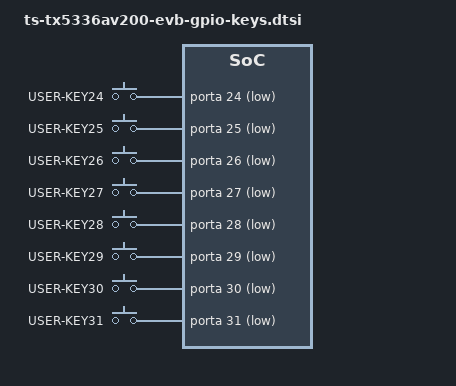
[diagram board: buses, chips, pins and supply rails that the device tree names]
#include "ts-tx5336.dtsi"
#include <dt-bindings/gpio/gpio.h>

/ {
gpio_keys: gpio_keys@0 {
	compatible = "gpio-keys";

	#address-cells = <1>;
	#size-cells = <0>;
	autorepeat;

    // key0@0 {
    //     label = "USER-KEY0";
    //     linux,code = <0>;
    //     gpios = <&porta 0 GPIO_ACTIVE_LOW>;
    //     gpio-key,wakeup;
    // };

    // key1@1 {
    //     label = "USER-KEY1";
    //     linux,code = <1>;
    //     gpios = <&porta 1 GPIO_ACTIVE_LOW>;
    //     gpio-key,wakeup;
    // };
    // key2@2 {
    //     label = "USER-KEY2";
    //     linux,code = <2>;
    //     gpios = <&porta 2 GPIO_ACTIVE_LOW>;
    //     gpio-key,wakeup;
    // };
    //   key3@3 {
    //                                 label = "USER-KEY3";
    //                                  linux,code = <3>;
    //                               gpios = <&porta 3 GPIO_ACTIVE_LOW>;
    //                                  gpio-key,wakeup;
    //                               };
    //   key4@4 {
    //                                 label = "USER-KEY4";
    //                                  linux,code = <4>;
    //                               gpios = <&porta 4 GPIO_ACTIVE_LOW>;
    //                                  gpio-key,wakeup;
    //                               };
    //   key5@5 {
    //                                 label = "USER-KEY5";
    //                                  linux,code = <5>;
    //                               gpios = <&porta 5 GPIO_ACTIVE_LOW>;
    //                                  gpio-key,wakeup;
    //                               };
    //   key6@6 {
    //                                 label = "USER-KEY6";
    //                                  linux,code = <6>;
    //                               gpios = <&porta 6 GPIO_ACTIVE_LOW>;
    //                                  gpio-key,wakeup;
    //                               };
    //   key7@7 {
    //                                 label = "USER-KEY7";
    //                                  linux,code = <7>;
    //                               gpios = <&porta 7 GPIO_ACTIVE_LOW>;
    //                                  gpio-key,wakeup;
    //                               };
//       key8@8 {
//                                     label = "USER-KEY8";
//                                      linux,code = <8>;
//                                   gpios = <&porta 8 GPIO_ACTIVE_LOW>;
//                                      gpio-key,wakeup;
//                                   };
//       key9@9 {
//                                     label = "USER-KEY9";
//                                      linux,code = <9>;
//                                   gpios = <&porta 9 GPIO_ACTIVE_LOW>;
//                                      gpio-key,wakeup;
//                                   };
//       key10@10 {
//                                     label = "USER-KEY10";
//                                      linux,code = <10>;
//                                   gpios = <&porta 10 GPIO_ACTIVE_LOW>;
//                                      gpio-key,wakeup;
//                                   };
//  key11@11 {
//                                     label = "USER-KEY11";
//                                      linux,code = <11>;
//                                   gpios = <&porta 11 GPIO_ACTIVE_LOW>;
//                                      gpio-key,wakeup;
//                                   };
//  key12@12 {
//                                     label = "USER-KEY12";
//                                      linux,code = <12>;
//                                   gpios = <&porta 12 GPIO_ACTIVE_LOW>;
//                                      gpio-key,wakeup;
//                                   };
//  key13@13 {
//                                     label = "USER-KEY13";
//                                      linux,code = <13>;
//                                   gpios = <&porta 13 GPIO_ACTIVE_LOW>;
//                                      gpio-key,wakeup;
//                                   };
//  key14@14 {
//                                     label = "USER-KEY14";
//                                      linux,code = <14>;
//                                   gpios = <&porta 14 GPIO_ACTIVE_LOW>;
//                                      gpio-key,wakeup;
//                                   };
//  key15@15 {
//                                     label = "USER-KEY15";
//                                      linux,code = <15>;
//                                   gpios = <&porta 15 GPIO_ACTIVE_LOW>;
//                                      gpio-key,wakeup;
//                                   };

// uart
#if 0
 key16@16 {
                                    label = "USER-KEY16";
                                     linux,code = <16>;
                                  gpios = <&porta 16 GPIO_ACTIVE_LOW>;
                                     gpio-key,wakeup;

 key17@17 {
                                    label = "USER-KEY17";
                                     linux,code = <17>;
                                  gpios = <&porta 17 GPIO_ACTIVE_LOW>;
                                     gpio-key,wakeup;
                                  };
#endif 

//  key18@18 {
//                                     label = "USER-KEY18";
//                                      linux,code = <18>;
//                                   gpios = <&porta 18 GPIO_ACTIVE_LOW>;
//                                      gpio-key,wakeup;
//                                   };
//  key19@19 {
//                                     label = "USER-KEY19";
//                                      linux,code = <19>;
//                                   gpios = <&porta 19 GPIO_ACTIVE_LOW>;
//                                      gpio-key,wakeup;
//                                   };
//  key20@20 {
//                                     label = "USER-KEY20";
//                                      linux,code = <20>;
//                                   gpios = <&porta 20 GPIO_ACTIVE_LOW>;
//                                      gpio-key,wakeup;
//                                   };
//  key21@21 {
//                                     label = "USER-KEY21";
//                                      linux,code = <21>;
//                                   gpios = <&porta 21 GPIO_ACTIVE_LOW>;
//                                      gpio-key,wakeup;
//                                   };
//  key22@22 {
//                                     label = "USER-KEY22";
//                                      linux,code = <22>;
//                                   gpios = <&porta 22 GPIO_ACTIVE_LOW>;
//                                      gpio-key,wakeup;
//                                   };
//  key23@23 {
//                                     label = "USER-KEY23";
//                                      linux,code = <23>;
//                                   gpios = <&porta 23 GPIO_ACTIVE_LOW>;
//                                      gpio-key,wakeup;
//                                   };
 key24@24 {
                                    label = "USER-KEY24";
                                     linux,code = <24>;
                                  gpios = <&porta 24 GPIO_ACTIVE_LOW>;
                                     gpio-key,wakeup;
                                  };
 key25@25 {
                                    label = "USER-KEY25";
                                     linux,code = <25>;
                                  gpios = <&porta 25 GPIO_ACTIVE_LOW>;
                                     gpio-key,wakeup;
                                  };
 key26@26 {
                                    label = "USER-KEY26";
                                     linux,code = <26>;
                                  gpios = <&porta 26 GPIO_ACTIVE_LOW>;
                                     gpio-key,wakeup;
                                  };
 key27@27 {
                                    label = "USER-KEY27";
                                     linux,code = <27>;
                                  gpios = <&porta 27 GPIO_ACTIVE_LOW>;
                                     gpio-key,wakeup;
                                  };
 key28@28 {
                                    label = "USER-KEY28";
                                     linux,code = <28>;
                                  gpios = <&porta 28 GPIO_ACTIVE_LOW>;
                                     gpio-key,wakeup;
                                  };
 key29@29 {
                                    label = "USER-KEY29";
                                     linux,code = <29>;
                                  gpios = <&porta 29 GPIO_ACTIVE_LOW>;
                                     gpio-key,wakeup;
                                  };
 key30@30 {
                                    label = "USER-KEY30";
                                     linux,code = <30>;
                                  gpios = <&porta 30 GPIO_ACTIVE_LOW>;
                                     gpio-key,wakeup;
                                  };
 key31@31 {
                                    label = "USER-KEY31";
                                     linux,code = <31>;
                                  gpios = <&porta 31 GPIO_ACTIVE_LOW>;
                                     gpio-key,wakeup;
                                  };
#if 0
 key32@32 {
                                    label = "USER-KEY32";
                                     linux,code = <32>;
                                  gpios = <&portb 0 GPIO_ACTIVE_LOW>;
                                  debounce-interval = <15>;
                                     gpio-key,wakeup;
                                  };
  key33@33 {
                                    label = "USER-KEY33";
                                     linux,code = <33>;
                                  gpios = <&portb 1 GPIO_ACTIVE_LOW>;
                                  debounce-interval = <15>;
                                     gpio-key,wakeup;
                                  };
  key34@34 {
                                    label = "USER-KEY34";
                                     linux,code = <34>;
                                  gpios = <&portb 2 GPIO_ACTIVE_LOW>;
                                  debounce-interval = <15>;
                                     gpio-key,wakeup;
                                  };
  key35@35 {
                                    label = "USER-KEY35";
                                     linux,code = <35>;
                                  gpios = <&portb 3 GPIO_ACTIVE_LOW>;
                                  debounce-interval = <15>;
                                     gpio-key,wakeup;
                                  };
  key36@36 {
                                    label = "USER-KEY36";
                                     linux,code = <36>;
                                  gpios = <&portb 4 GPIO_ACTIVE_LOW>;
                                  debounce-interval = <15>;
                                     gpio-key,wakeup;
                                  };
  key37@37 {
                                    label = "USER-KEY37";
                                     linux,code = <37>;
                                  gpios = <&portb 5 GPIO_ACTIVE_LOW>;
                                  debounce-interval = <15>;
                                     gpio-key,wakeup;
                                  };
  key38@38 {
                                    label = "USER-KEY38";
                                     linux,code = <38>;
                                  gpios = <&portb 6 GPIO_ACTIVE_LOW>;
                                  debounce-interval = <15>;
                                     gpio-key,wakeup;
                                  };
  key39@39 {
                                    label = "USER-KEY39";
                                     linux,code = <39>;
                                  gpios = <&portb 7 GPIO_ACTIVE_LOW>;
                                  debounce-interval = <15>;
                                     gpio-key,wakeup;
                                  };
#endif 
// #if 0
//   key40@40 {
//                                     label = "USER-KEY40";
//                                      linux,code = <40>;
//                                   gpios = <&portb 8 GPIO_ACTIVE_LOW>;
//                                      gpio-key,wakeup;
//                                   };
//   key41@41 {
//                                     label = "USER-KEY41";
//                                      linux,code = <41>;
//                                   gpios = <&portb 9 GPIO_ACTIVE_LOW>;
//                                      gpio-key,wakeup;
//                                   };
//   key42@42 {
//                                     label = "USER-KEY42";
//                                      linux,code = <42>;
//                                   gpios = <&portb 10 GPIO_ACTIVE_LOW>;
//                                      gpio-key,wakeup;
//                                   };
//  key43@43 {
//                                     label = "USER-KEY43";
//                                      linux,code = <43>;
//                                   gpios = <&portb 11 GPIO_ACTIVE_LOW>;
//                                      gpio-key,wakeup;
//                                   };
//  key44@44 {
//                                     label = "USER-KEY44";
//                                      linux,code = <44>;
//                                   gpios = <&portb 12 GPIO_ACTIVE_LOW>;
//                                      gpio-key,wakeup;
//                                   };
//  key45@45 {
//                                     label = "USER-KEY45";
//                                      linux,code = <45>;
//                                   gpios = <&portb 13 GPIO_ACTIVE_LOW>;
//                                      gpio-key,wakeup;
//                                   };
// #endif 
//  key46@46 {
//                                     label = "USER-KEY46";
//                                      linux,code = <46>;
//                                   gpios = <&portb 14 GPIO_ACTIVE_LOW>;
//                                      gpio-key,wakeup;
//                                   };
//  key47@47 {
//                                     label = "USER-KEY47";
//                                      linux,code = <47>;
//                                   gpios = <&portb 15 GPIO_ACTIVE_LOW>;
//                                      gpio-key,wakeup;
//                                   };
#if 0
 key48@48 {
                                    label = "USER-KEY48";
                                     linux,code = <48>;
                                  gpios = <&portb 16 GPIO_ACTIVE_LOW>;
                                     gpio-key,wakeup;
                                  };
 key49@49 {
                                    label = "USER-KEY49";
                                     linux,code = <49>;
                                  gpios = <&portb 17 GPIO_ACTIVE_LOW>;
                                     gpio-key,wakeup;
                                  };
 key50@50 {
                                    label = "USER-KEY50";
                                     linux,code = <50>;
                                  gpios = <&portb 18 GPIO_ACTIVE_LOW>;
                                     gpio-key,wakeup;
                                  };
 key51@51 {
                                    label = "USER-KEY51";
                                     linux,code = <51>;
                                  gpios = <&portb 19 GPIO_ACTIVE_LOW>;
                                     gpio-key,wakeup;
                                  };
 key52@52 {
                                    label = "USER-KEY52";
                                     linux,code = <52>;
                                  gpios = <&portb 20 GPIO_ACTIVE_LOW>;
                                     gpio-key,wakeup;
                                  };
 key53@53 {
                                    label = "USER-KEY53";
                                     linux,code = <53>;
                                  gpios = <&portb 21 GPIO_ACTIVE_LOW>;
                                     gpio-key,wakeup;
                                  };
 key54@54 {
                                    label = "USER-KEY54";
                                     linux,code = <54>;
                                  gpios = <&portb 22 GPIO_ACTIVE_LOW>;
                                     gpio-key,wakeup;
                                  };
 key55@55 {
                                    label = "USER-KEY55";
                                     linux,code = <55>;
                                  gpios = <&portb 23 GPIO_ACTIVE_LOW>;
                                     gpio-key,wakeup;
                                  };
#endif 
#if 0
 key56@56 {
                                    label = "USER-KEY56";
                                     linux,code = <56>;
                                  gpios = <&portb 24 GPIO_ACTIVE_LOW>;
                                     gpio-key,wakeup;
                                  };
 key57@57 {
                                    label = "USER-KEY57";
                                     linux,code = <57>;
                                  gpios = <&portb 25 GPIO_ACTIVE_LOW>;
                                     gpio-key,wakeup;
                                  };
 key58@58 {
                                    label = "USER-KEY58";
                                     linux,code = <58>;
                                  gpios = <&portb 26 GPIO_ACTIVE_LOW>;
                                     gpio-key,wakeup;
                                  };
 key59@59 {
                                    label = "USER-KEY59";
                                     linux,code = <59>;
                                  gpios = <&portb 27 GPIO_ACTIVE_LOW>;
                                     gpio-key,wakeup;
                                  };
 key60@60 {
                                    label = "USER-KEY60";
                                     linux,code = <60>;
                                  gpios = <&portb 28 GPIO_ACTIVE_LOW>;
                                     gpio-key,wakeup;
                                  };
 key61@61 {
                                    label = "USER-KEY61";
                                     linux,code = <61>;
                                  gpios = <&portb 29 GPIO_ACTIVE_LOW>;
                                     gpio-key,wakeup;
                                  };
 key62@62 {
                                    label = "USER-KEY62";
                                     linux,code = <62>;
                                  gpios = <&portb 30 GPIO_ACTIVE_LOW>;
                                     gpio-key,wakeup;
                                  };
#endif
#if 0
 key63@63 {
                                    label = "USER-KEY63";
                                     linux,code = <63>;
                                  gpios = <&portb 31 GPIO_ACTIVE_LOW>;
                                     gpio-key,wakeup;
                                  };
 key64@64 {
                                    label = "USER-KEY64";
                                     linux,code = <64>;
                                  gpios = <&portc 0 GPIO_ACTIVE_LOW>;
                                     gpio-key,wakeup;
                                  };
  key65@65 {
                                    label = "USER-KEY65";
                                     linux,code = <65>;
                                  gpios = <&portc 1 GPIO_ACTIVE_LOW>;
                                     gpio-key,wakeup;
                                  };
  key66@66 {
                                    label = "USER-KEY66";
                                     linux,code = <66>;
                                  gpios = <&portc 2 GPIO_ACTIVE_LOW>;
                                     gpio-key,wakeup;
                                  };
  key67@67 {
                                    label = "USER-KEY67";
                                     linux,code = <67>;
                                  gpios = <&portc 3 GPIO_ACTIVE_LOW>;
                                     gpio-key,wakeup;
                                  };
  key68@68 {
                                    label = "USER-KEY68";
                                     linux,code = <68>;
                                  gpios = <&portc 4 GPIO_ACTIVE_LOW>;
                                     gpio-key,wakeup;
                                  };
  key69@69 {
                                    label = "USER-KEY69";
                                     linux,code = <69>;
                                  gpios = <&portc 5 GPIO_ACTIVE_LOW>;
                                     gpio-key,wakeup;
                                  };
  key70@70 {
                                    label = "USER-KEY70";
                                     linux,code = <70>;
                                  gpios = <&portc 6 GPIO_ACTIVE_LOW>;
                                     gpio-key,wakeup;
                                  };
                        
#endif
#if 0
  key71@71 {
                                    label = "USER-KEY71";
                                     linux,code = <71>;
                                  gpios = <&portc 7 GPIO_ACTIVE_LOW>;
                                     gpio-key,wakeup;
                                  };
  key72@72 {
                                    label = "USER-KEY72";
                                     linux,code = <72>;
                                  gpios = <&portc 8 GPIO_ACTIVE_LOW>;
                                     gpio-key,wakeup;
                                  };
  key73@73 {
                                    label = "USER-KEY73";
                                     linux,code = <73>;
                                  gpios = <&portc 9 GPIO_ACTIVE_LOW>;
                                     gpio-key,wakeup;
                                  };
  key74@74 {
                                    label = "USER-KEY74";
                                     linux,code = <74>;
                                  gpios = <&portc 10 GPIO_ACTIVE_LOW>;
                                     gpio-key,wakeup;
                                  };
 key75@75 {
                                    label = "USER-KEY75";
                                     linux,code = <75>;
                                  gpios = <&portc 11 GPIO_ACTIVE_LOW>;
                                     gpio-key,wakeup;
                                  };
 key76@76 {
                                    label = "USER-KEY76";
                                     linux,code = <76>;
                                  gpios = <&portc 12 GPIO_ACTIVE_LOW>;
                                     gpio-key,wakeup;
                                  };
 key77@77 {
                                    label = "USER-KEY77";
                                     linux,code = <77>;
                                  gpios = <&portc 13 GPIO_ACTIVE_LOW>;
                                     gpio-key,wakeup;
                                  };
 #endif
};

};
